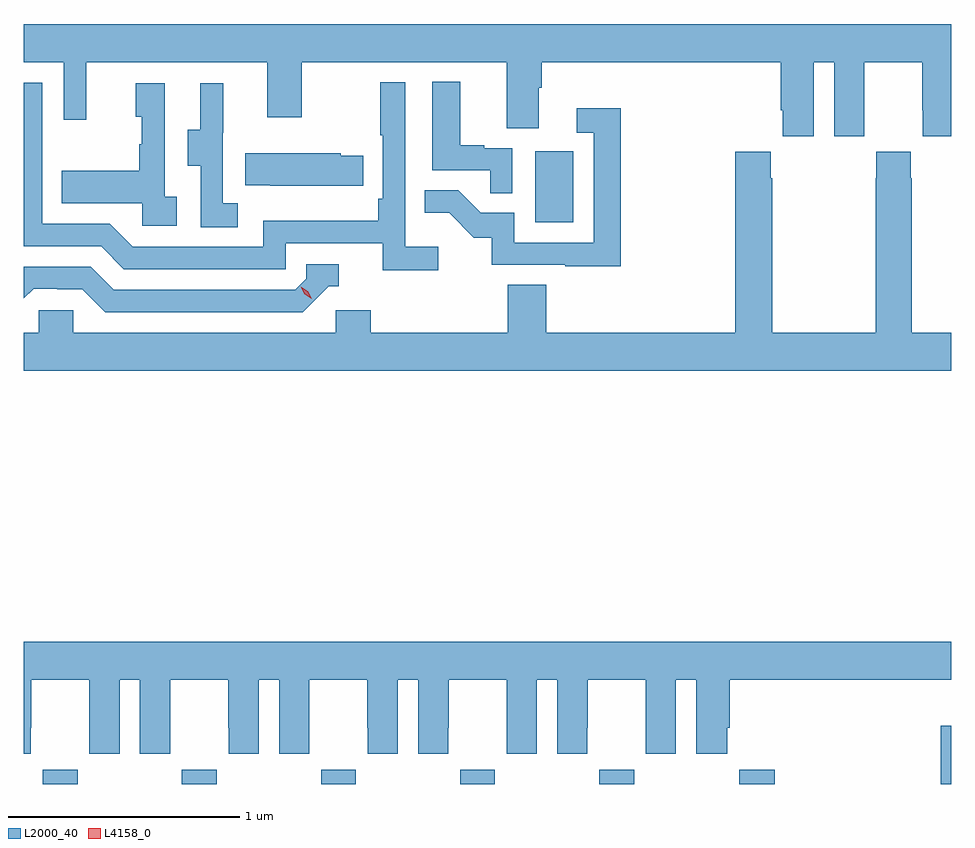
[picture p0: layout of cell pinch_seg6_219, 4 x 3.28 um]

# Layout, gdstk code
import gdstk
lib = gdstk.Library(unit=1e-6, precision=1e-09)
def R(c, l, rs):  # rectangles x0, y0, x1, y1
    for r in rs: c.add(gdstk.rectangle(r[:2], r[2:], *l))
def A(c, l, x, y, w, h, nx, ny, dx, dy):  # array of equal rectangles
    R(c, l, [(x+i*dx, y+j*dy, x+i*dx+w, y+j*dy+h) for i in range(nx) for j in range(ny)])
def P(c, l, *ps):  # polygons
    for p in ps: c.add(gdstk.Polygon(p, *l))
L2000_40 = (2000, 40)
L4158_0 = (4158, 0)

pinch_seg6_219 = lib.new_cell('pinch_seg6_219')
A(pinch_seg6_219, L2000_40, 1079.877, 930.902, 0.15, 0.062, 5, 1, 0.6, 0)
R(pinch_seg6_219, L2000_40, [(1082.881,930.902,1083.035,930.964), (1083.751,930.902,1083.795,931.153), (1082,933.324,1082.164,933.631)])
P(pinch_seg6_219, L2000_40, [(1083.202,934.016),(1083.29,934.016),(1083.29,933.696),(1083.42,933.696),(1083.42,933.808),(1083.421,933.808),(1083.421,934.016),(1083.671,934.016),(1083.671,933.808),(1083.672,933.808),(1083.672,933.696),(1083.795,933.696),(1083.795,934.18),(1079.795,934.18),(1079.795,934.016),(1079.967,934.016),(1079.967,933.768),(1080.065,933.768),(1080.065,934.016),(1080.845,934.016),(1080.845,933.777),(1080.993,933.777),(1080.993,934.016),(1081.877,934.016),(1081.877,933.73),(1082.017,933.73),(1082.017,933.904),(1082.03,933.904),(1082.03,934.016),(1083.059,934.016),(1083.059,933.808),(1083.068,933.808),(1083.068,933.696),(1083.202,933.696)],
  [(1081.902,933.645),(1081.781,933.645),(1081.781,933.658),(1081.678,933.658),(1081.678,933.931),(1081.556,933.931),(1081.556,933.549),(1081.807,933.549),(1081.807,933.451),(1081.902,933.451)],
  [(1081.582,933.22),(1081.44,933.22),(1081.44,933.928),(1081.332,933.928),(1081.332,933.7),(1081.344,933.7),(1081.344,933.427),(1081.324,933.427),(1081.324,933.331),(1080.828,933.331),(1080.828,933.219),(1080.264,933.219),(1080.165,933.318),(1079.874,933.318),(1079.874,933.927),(1079.795,933.927),(1079.795,933.222),(1080.128,933.222),(1080.227,933.123),(1080.924,933.123),(1080.924,933.234),(1081.343,933.234),(1081.343,933.118),(1081.582,933.118)],
  [(1080.718,933.407),(1080.654,933.407),(1080.654,933.711),(1080.656,933.711),(1080.656,933.925),(1080.557,933.925),(1080.557,933.723),(1080.503,933.723),(1080.503,933.568),(1080.558,933.568),(1080.558,933.304),(1080.718,933.304)],
  [(1080.454,933.434),(1080.402,933.434),(1080.402,933.925),(1080.278,933.925),(1080.278,933.78),(1080.304,933.78),(1080.304,933.662),(1080.294,933.662),(1080.294,933.547),(1079.959,933.547),(1079.959,933.407),(1080.306,933.407),(1080.306,933.309),(1080.454,933.309)],
  [(1082.369,933.817),(1082.181,933.817),(1082.181,933.711),(1082.253,933.711),(1082.253,933.237),(1081.911,933.237),(1081.911,933.366),(1081.766,933.366),(1081.668,933.464),(1081.525,933.464),(1081.525,933.365),(1081.629,933.365),(1081.736,933.258),(1081.813,933.258),(1081.813,933.141),(1082.131,933.141),(1082.131,933.136),(1082.369,933.136)],
  [(1083.795,932.848),(1083.624,932.848),(1083.624,933.515),(1083.621,933.515),(1083.621,933.628),(1083.471,933.628),(1083.471,933.515),(1083.469,933.515),(1083.469,932.848),(1083.024,932.848),(1083.024,933.515),(1083.017,933.515),(1083.017,933.628),(1082.864,933.628),(1082.864,932.848),(1082.048,932.848),(1082.048,933.056),(1081.883,933.056),(1081.883,932.848),(1081.292,932.848),(1081.292,932.946),(1081.14,932.946),(1081.14,932.848),(1080.009,932.848),(1080.009,932.946),(1079.859,932.946),(1079.859,932.848),(1079.795,932.848),(1079.795,932.684),(1083.795,932.684)],
  [(1081.259,933.612),(1081.161,933.612),(1081.161,933.622),(1080.751,933.622),(1080.751,933.485),(1080.859,933.485),(1080.859,933.482),(1081.259,933.482)],
  [(1081.11,933.048),(1081.153,933.048),(1081.153,933.144),(1081.014,933.144),(1081.014,933.081),(1080.966,933.033),(1080.183,933.033),(1080.084,933.132),(1079.795,933.132),(1079.795,932.997),(1079.837,933.039),(1079.94,933.039),(1079.94,933.036),(1080.047,933.036),(1080.146,932.937),(1080.999,932.937)],
  [(1079.826,931.144),(1079.827,931.144),(1079.827,931.352),(1080.077,931.352),(1080.077,931.144),(1080.078,931.144),(1080.078,931.032),(1080.208,931.032),(1080.208,931.352),(1080.296,931.352),(1080.296,931.032),(1080.426,931.032),(1080.426,931.144),(1080.427,931.144),(1080.427,931.352),(1080.677,931.352),(1080.677,931.144),(1080.678,931.144),(1080.678,931.032),(1080.808,931.032),(1080.808,931.352),(1080.896,931.352),(1080.896,931.032),(1081.026,931.032),(1081.026,931.144),(1081.027,931.144),(1081.027,931.352),(1081.277,931.352),(1081.277,931.144),(1081.278,931.144),(1081.278,931.032),(1081.408,931.032),(1081.408,931.352),(1081.496,931.352),(1081.496,931.032),(1081.626,931.032),(1081.626,931.144),(1081.627,931.144),(1081.627,931.352),(1081.877,931.352),(1081.877,931.144),(1081.878,931.144),(1081.878,931.032),(1082.008,931.032),(1082.008,931.352),(1082.096,931.352),(1082.096,931.032),(1082.226,931.032),(1082.226,931.144),(1082.227,931.144),(1082.227,931.352),(1082.477,931.352),(1082.477,931.144),(1082.478,931.144),(1082.478,931.032),(1082.608,931.032),(1082.608,931.352),(1082.696,931.352),(1082.696,931.032),(1082.83,931.032),(1082.83,931.144),(1082.84,931.144),(1082.84,931.352),(1083.795,931.352),(1083.795,931.516),(1079.795,931.516),(1079.795,931.032),(1079.826,931.032)])
P(pinch_seg6_219, L4158_0, [(1081.037,932.995),(1081.006,933.014),(1080.989,933.046),(1080.989,933.046),(1080.99,933.046),(1081.02,933.027),(1081.037,932.995),(1081.037,932.995)])

lib.write_gds('pinch_seg6_219.gds')
